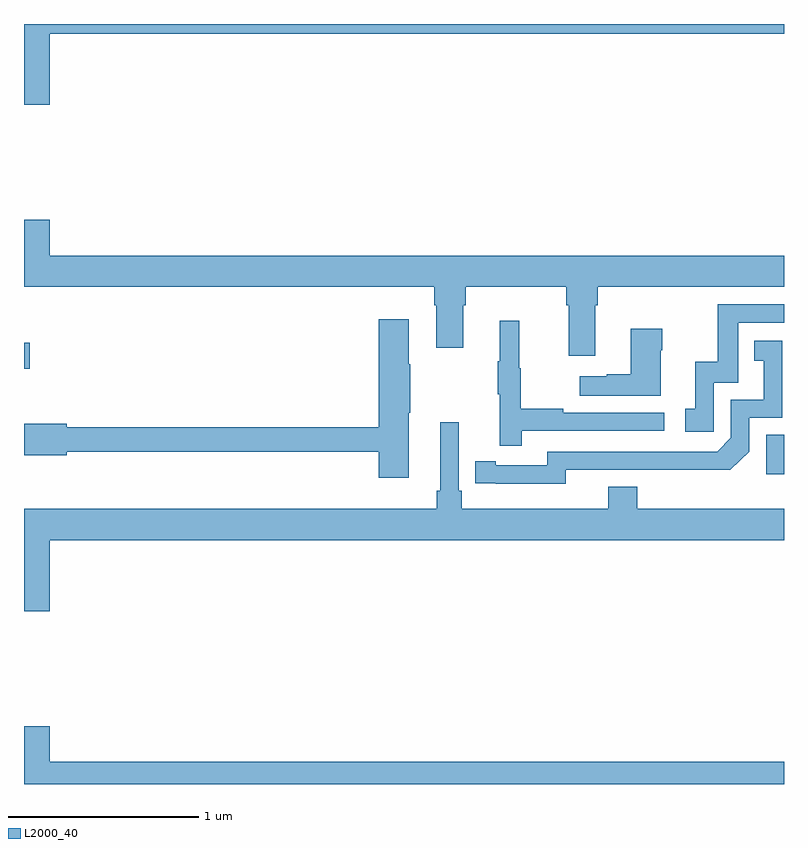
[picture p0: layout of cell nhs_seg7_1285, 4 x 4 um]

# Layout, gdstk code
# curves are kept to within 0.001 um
import gdstk
lib = gdstk.Library(unit=1e-6, precision=1e-09)
def R(c, l, rs):  # rectangles x0, y0, x1, y1
    for r in rs: c.add(gdstk.rectangle(r[:2], r[2:], *l))
def P(c, l, *ps):  # polygons
    for p in ps: c.add(gdstk.Polygon(p, *l))
L2000_40 = (2000, 40)

nhs_seg7_1285 = lib.new_cell('nhs_seg7_1285')
R(nhs_seg7_1285, L2000_40, [(204.906,999.63,205,999.837), (201,1000.186,201.031,1000.323)])
P(nhs_seg7_1285, L2000_40, [(201.136,1001.948),(205,1001.948),(205,1002),(201,1002),(201,1001.574),(201.136,1001.574)],
  [(204.007,1000.52),(204.02,1000.52),(204.02,1000.616),(205,1000.616),(205,1000.78),(201.136,1000.78),(201.136,1000.969),(201,1000.969),(201,1000.616),(203.159,1000.616),(203.159,1000.52),(203.171,1000.52),(203.171,1000.296),(203.311,1000.296),(203.311,1000.52),(203.324,1000.52),(203.324,1000.616),(203.855,1000.616),(203.855,1000.52),(203.867,1000.52),(203.867,1000.254),(204.007,1000.254)],
  [(204.63,1000.113),(204.759,1000.113),(204.759,1000.428),(205,1000.428),(205,1000.524),(204.651,1000.524),(204.651,1000.222),(204.533,1000.222),(204.533,999.975),(204.48,999.975),(204.48,999.855),(204.63,999.855)],
  [(203.026,999.955),(203.034,999.955),(203.034,1000.208),(203.026,1000.208),(203.026,1000.447),(202.868,1000.447),(202.868,999.878),(201.226,999.878),(201.226,999.897),(201,999.897),(201,999.731),(201.226,999.731),(201.226,999.75),(202.868,999.75),(202.868,999.612),(203.026,999.612)],
  [(203.621,999.858),(204.37,999.858),(204.37,999.954),(203.837,999.954),(203.837,999.974),(203.614,999.974),(203.614,1000.188),(203.606,1000.188),(203.606,1000.438),(203.504,1000.438),(203.504,1000.225),(203.493,1000.225),(203.493,1000.051),(203.504,1000.051),(203.504,999.78),(203.621,999.78)],
  [(204.352,1000.283),(204.36,1000.283),(204.36,1000.396),(204.194,1000.396),(204.194,1000.157),(204.068,1000.157),(204.068,1000.147),(203.925,1000.147),(203.925,1000.043),(204.352,1000.043)],
  [(203.85,999.654),(204.718,999.653),(204.816,999.75),(204.816,999.927),(204.99,999.927),(204.99,1000.333),(204.844,1000.333),(204.844,1000.227),(204.893,1000.227),(204.893,1000.023),(204.72,1000.023),(204.72,999.822),(204.648,999.75),(203.754,999.75),(203.754,999.678),(203.482,999.678),(203.482,999.698),(203.374,999.698),(203.374,999.582),(203.85,999.581)],
  [(201.136,999.284),(205,999.284),(205,999.448),(204.227,999.448),(204.227,999.565),(204.074,999.565),(204.074,999.448),(203.303,999.448),(203.303,999.544),(203.289,999.544),(203.289,999.904),(203.192,999.904),(203.192,999.544),(203.173,999.544),(203.173,999.448),(201,999.448),(201,998.91),(201.136,998.91)],
  [(205,998.116),(201.136,998.116),(201.136,998.305),(201,998.305),(201,998),(205,998)])

lib.write_gds('nhs_seg7_1285.gds')
